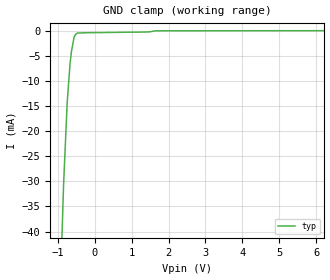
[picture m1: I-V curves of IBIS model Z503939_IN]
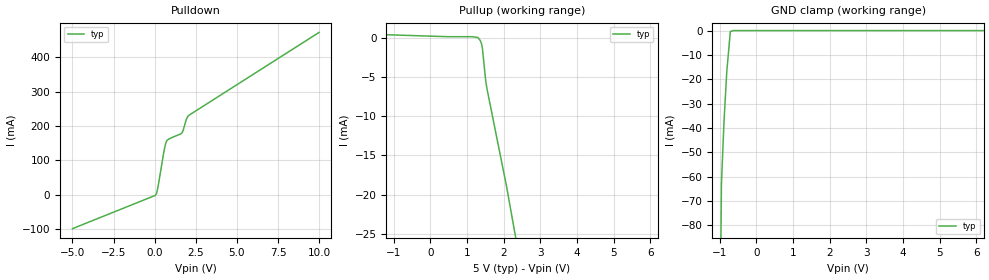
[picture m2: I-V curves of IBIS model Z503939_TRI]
| YOU ARE ONLY AUTHORIZED TO USE THIS SOFTWARE
| ACCORDING TO LICENSOR'S LICENSE RESTRICTIONS.
[IBIS Ver] 3.1
[File Name] mc54f538j.ibs
[File Rev] 2.0
[Source] Measured and created by ICX Technology
[Date] Friday 7/14/00 9:08:03 AM
[Copyright]
| (C) COPYRIGHT 1993-2000
| MENTOR GRAPHICS CORPORATION
| ICX STANDARD LIBRARY, ICX PROJECT MODELING,
| ICX CUSTOM MODELING, ICX VENDOR MODEL
| ALL RIGHTS RESERVED.
| THE FOLLOWING ARE TRADEMARKS OR SERVICE MARKS OF
| MENTOR GRAPHICS CORPORATION:ICX (R), ICX STANDARD
| LIBRARY(R), ICX PROJECT MODELING(R), ICX CUSTOM
| MODELING(R), qualityIBIS(TM), MODELVIEWER(TM),
| AND MODELEDITOR(TM)
| ALL COPIES OF SOFTWARE, INCLUDING BUT NOT LIMITED TO
| ANY MODIFICATIONS, ENHANCEMENTS OR DERIVATIVE WORKS,
| MUST CONTAIN ALL MENTOR GRAPHICS CORPORATION'S
| NOTICES AND LEGENDS, INCLUDING THOSE EMBEDDED IN
| SOFTWARE AND THOSE AFFIXED TO SOFTWARE MEDIUM
| AND CONTAINER, AS RECEIVED FROM MENTOR GRAPHICS
| CORPORATION.
|  ZAP Model Builder 2.7
[Component] MC54F538J
[Manufacturer] OnSemiconductor
[Package]
| variable   typ   min   max
R_pkg  .216ohms NA NA
L_pkg  5.76nH NA NA
C_pkg  2.193pF NA NA
[Pin] signal_name  model_name  R_pin  L_pin C_pin
1 Y2 Z503939_TRI .232 9.76n 3.179p
2 Y1 Z503939_TRI .224 7.26n 2.686p
3 Y0 Z503939_TRI .216 5.26n 2.193p
4 _EN1 Z503939_IN .208 3.76n 1.7p
5 _EN2 Z503939_IN .2 2.76n 1.207p
6 A0 Z503939_IN .2 2.76n 1.207p
7 A1 Z503939_IN .208 3.76n 1.7p
8 Y5 Z503939_TRI .216 5.26n 2.193p
9 Y6 Z503939_TRI .224 7.26n 2.686p
10 GND GND .232 9.76n 3.179p
11 Y7 Z503939_TRI .232 9.76n 3.179p
12 AL Z503939_IN .224 7.26n 2.686p
13 G0 Z503939_IN .216 5.26n 2.193p
14 G1 Z503939_IN .208 3.76n 1.7p
15 _G4 Z503939_IN .2 2.76n 1.207p
16 _G3 Z503939_IN .2 2.76n 1.207p
17 A2 Z503939_IN .208 3.76n 1.7p
18 Y4 Z503939_TRI .216 5.26n 2.193p
19 Y3 Z503939_TRI .224 7.26n 2.686p
20 VCC POWER .232 9.76n 3.179p
| Models and submodels in the file (2): Z503939_IN (Input), Z503939_TRI (3-state)
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| (C) COPYRIGHT 1993-2000
| MENTOR GRAPHICS CORPORATION
| ICX STANDARD LIBRARY, ICX PROJECT MODELING,
| ICX CUSTOM MODELING, ICX VENDOR MODEL
| ALL RIGHTS RESERVED.
| THE FOLLOWING ARE TRADEMARKS OR SERVICE MARKS OF
| MENTOR GRAPHICS CORPORATION:ICX (R), ICX STANDARD
| LIBRARY(R), ICX PROJECT MODELING(R), ICX CUSTOM
| MODELING(R), qualityIBIS(TM), MODELVIEWER(TM),
| AND MODELEDITOR(TM)
| ALL COPIES OF SOFTWARE, INCLUDING BUT NOT LIMITED TO
| ANY MODIFICATIONS, ENHANCEMENTS OR DERIVATIVE WORKS,
| MUST CONTAIN ALL MENTOR GRAPHICS CORPORATION'S
| NOTICES AND LEGENDS, INCLUDING THOSE EMBEDDED IN
| SOFTWARE AND THOSE AFFIXED TO SOFTWARE MEDIUM
| AND CONTAINER, AS RECEIVED FROM MENTOR GRAPHICS
| CORPORATION.
| Model Application Version 1.89 2/18/99.
[Model] Z503939_IN
Model_type Input
Vinl = 800.0mV
Vinh = 2.000V
C_comp 4.000pF NA NA
| variable typ   min   max
[Voltage Range] 5.000V NA NA
[GND Clamp Reference] 0.000V NA NA
[POWER Clamp Reference] 5.000V NA NA
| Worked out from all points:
|   GND clamp passes 1 mA (typ) near -0.54 V on its own axis
[GND Clamp]
-5V       -1.019A    NA         NA
-839.7mV  -30.6mA    NA         NA
-742.2mV  -14.27mA   NA         NA
-664mV    -6.451mA   NA         NA
-625mV    -4.03mA    NA         NA
-556.6mV  -1.331mA   NA         NA
-522.5mV  -769.6uA   NA         NA
-461.8mV  -443.5uA   NA         NA
1.391V    -240.5uA   NA         NA
1.646V    -2.984uA   NA         NA
10V       45.8uA     NA         NA
[POWER Clamp]
-5V       0A         NA         NA
10V       0A         NA         NA
| (C) COPYRIGHT 1993-2000
| MENTOR GRAPHICS CORPORATION
| ICX STANDARD LIBRARY, ICX PROJECT MODELING,
| ICX CUSTOM MODELING, ICX VENDOR MODEL
| ALL RIGHTS RESERVED.
| THE FOLLOWING ARE TRADEMARKS OR SERVICE MARKS OF
| MENTOR GRAPHICS CORPORATION:ICX (R), ICX STANDARD
| LIBRARY(R), ICX PROJECT MODELING(R), ICX CUSTOM
| MODELING(R), qualityIBIS(TM), MODELVIEWER(TM),
| AND MODELEDITOR(TM)
| ALL COPIES OF SOFTWARE, INCLUDING BUT NOT LIMITED TO
| ANY MODIFICATIONS, ENHANCEMENTS OR DERIVATIVE WORKS,
| MUST CONTAIN ALL MENTOR GRAPHICS CORPORATION'S
| NOTICES AND LEGENDS, INCLUDING THOSE EMBEDDED IN
| SOFTWARE AND THOSE AFFIXED TO SOFTWARE MEDIUM
| AND CONTAINER, AS RECEIVED FROM MENTOR GRAPHICS
| CORPORATION.
| Model Application Version 1.89 2/18/99.
[Model] Z503939_TRI
Model_type 3-state
Vref=0.000V
Rref=500.0ohms
Cref=50.00pF
Vmeas=1.500V
C_comp 8.000pF NA NA
| variable typ   min   max
[Voltage Range] 5.000V NA NA
[POWER Clamp Reference] 5.000V NA NA
[Pullup Reference] 5.000V NA NA
[Pulldown Reference] 0.000V NA NA
[GND Clamp Reference] 0.000V NA NA
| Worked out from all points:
|   slope of the pulldown table from 0 to 0.75 V, typ, clamps not added: 4.69 ohm
|   slope of the pullup table from 0 to 0.75 V, typ, clamps not added: 10.4 kohm
|   GND clamp passes 1 mA (typ) near -0.72 V on its own axis
[GND Clamp]
-5V       -2.123A    NA         NA
-1.069V   -233mA     NA         NA
-1.043V   -206.4mA   NA         NA
-955.9mV  -63.17mA   NA         NA
-886.7mV  -37.71mA   NA         NA
-810.4mV  -16.94mA   NA         NA
-712.7mV  -371.6uA   NA         NA
-633.5mV  0A         NA         NA
10V       0A         NA         NA
[Pulldown]
-5V       -97.93mA   NA         NA
30.33mV   -1.565mA   NA         NA
126.4mV   6.685mA    NA         NA
205mV     23.62mA    NA         NA
568mV     127.8mA    NA         NA
666.3mV   148.8mA    NA         NA
871.1mV   162.3mA    NA         NA
1.634V    178.7mA    NA         NA
1.723V    186.1mA    NA         NA
1.924V    219.1mA    NA         NA
2.017V    228mA      NA         NA
10V       471.5mA    NA         NA
[Pullup]
-5V       977.1uA    NA         NA
484mV     159.5uA    NA         NA
1.144V    159.5uA    NA         NA
1.299V    51.77uA    NA         NA
1.362V    -317.9uA   NA         NA
1.402V    -821.3uA   NA         NA
1.421V    -1.326mA   NA         NA
1.514V    -5.573mA   NA         NA
1.557V    -6.756mA   NA         NA
2.079V    -18.93mA   NA         NA
10V       -226.3mA   NA         NA
[POWER Clamp]
-5V       0A         NA         NA
10V       0A         NA         NA
[Ramp]
| variable typ min max
dV/dt_r 2.030/5.705n NA NA
dV/dt_f 2.030/1.307n NA NA
R_load = 500.0Ohms
